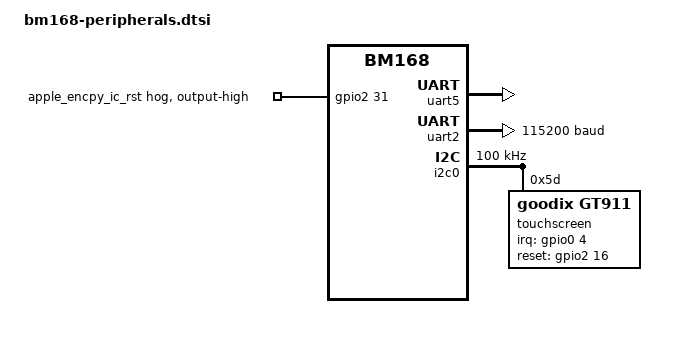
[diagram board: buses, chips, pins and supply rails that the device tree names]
// SPDX-License-Identifier: GPL-2.0
// BM168 projection peripherals for the Plan A RAM spike: Bluetooth UART,
// the MCU link UART,
// I2C bus 0 (Goodix touch, MFi coprocessor), DMA for the Wi-Fi SDIO host
// and the pad multiplexing stock
// applies for them. Values come from the stock kernel and a read-only survey
// of the running stock system (docs/plan-a-compatibility.md, "Stock
// peripheral survey"); the pin groups are the SDK's, which reproduce stock's
// pad values exactly. Only these groups are written; every other pad keeps
// the bootloader's setting.
#include <dt-bindings/gpio/gpio.h>
#include <dt-bindings/interrupt-controller/irq.h>
#include <dt-bindings/pinctrl/ark-pinfunc.h>

/ {
    aliases { hsserial1 = &uart5; gpio2 = &gpio2; serial2 = &uart2; };
};

&{/sregs@e4900000/clocks} {
    // ttyHS1 reference clock: xtal 24 MHz, divider field 0, as stock
    // (register 0x6c bits 17 and 13-16 are 0 on stock; U-Boot leaves
    // divider 15). Same node as the SDK ark1668.dtsi.
    uart5clk: uart5clk {
        #clock-cells = <0>;
        compatible = "arkmiro,ark-clk-sys";
        clocks = <&xtal24mhz>, <&syspll>;
        reg = <0x6c>;
        index-offset = <17>;
        index-mask = <0x1>;
        index-value = <0>;
        div-offset = <13>;
        div-mask = <0xf>;
        div-value = <0>;
        div-mode = <ARK_CLK_DIVMODE_NOZERO>;
        enable-reg = <0x48 0x50>;
        enable-offset = <10 10>;
    };
};

&{/ahb} {
    pinctrl0: pinctrl@e4900000 {
        compatible = "arkmicro,ark1668-pinctrl";
        reg = <0xe4900000 0x1000>;
        // Hogs: MFi coprocessor reset pin 95 and Bluetooth power pin 94 to
        // their GPIO function (stock 0, U-Boot leaves 1); gpio2 line 31 then
        // drives the MFi reset high below, gocsdk drives GPIO 94 itself.
        pinctrl-names = "default";
        pinctrl-0 = <&pinctrl_mfi_rst &pinctrl_bt_power>;

        uart5 {
            pinctrl_uart5: uart5-0 {
                ark,pins = <ARK_PBANK_3 28 ARK_PVAL_1      /* uart5 rx, pin 124 */
                            ARK_PBANK_3 27 ARK_PVAL_1>;    /* uart5 tx, pin 123 */
            };
        };
        uart2 {
            // MCU link (ttyS2): stock pads 66/67 = 1 (0x1e0 bits 8-11);
            // U-Boot leaves 2.
            pinctrl_uart2: uart2-0 {
                ark,pins = <ARK_PBANK_2 2 ARK_PVAL_1       /* uart2 rx, pin 66 */
                            ARK_PBANK_2 3 ARK_PVAL_1>;     /* uart2 tx, pin 67 */
            };
        };
        i2c0 {
            pinctrl_i2c0: i2c0-0 {
                ark,pins = <ARK_PBANK_2 6 ARK_PVAL_2       /* i2c0 scl, pin 70 */
                            ARK_PBANK_2 7 ARK_PVAL_2>;     /* i2c0 sda, pin 71 */
            };
        };
        mfi {
            pinctrl_mfi_rst: mfi-rst {
                ark,pins = <ARK_PBANK_2 31 ARK_PVAL_0>;    /* GPIO 95 */
            };
        };
        bt {
            // Bluetooth module power: gocsdk's bt_power exports GPIO 94
            // (its default when no config sets one) and toggles it. Stock
            // pad 94 is GPIO (0); U-Boot leaves 1, which kept the module
            // unpowered (SPIKE10: verified with a devmem write of the stock
            // value, after which the module loaded its firmware).
            pinctrl_bt_power: bt-power {
                ark,pins = <ARK_PBANK_2 30 ARK_PVAL_0>;    /* GPIO 94 */
            };
        };
    };

    gpio2: gpio@e4600040 {
        compatible = "arkmicro,ark-gpio";
        reg = <0xe4600040 0x20>;
        interrupt-parent = <&vicl>;
        interrupts = <1>;
        gpio-controller;
        #gpio-cells = <2>;
        // No gpio-ranges: pads are set only by the pinctrl groups above.
        mfi-reset {
            // Stock board init: gpio_request(95, "apple_encpy_ic_rst"), high.
            gpio-hog;
            gpios = <31 GPIO_ACTIVE_HIGH>;
            output-high;
            line-name = "apple_encpy_ic_rst";
        };
    };

    uart5: serial@e4800000 {
        // ttyHS1: Bluetooth module (gocsdk), stock 0xe4800000 IRQ 28.
        compatible = "arkmicro,ark-hsuart";
        reg = <0xe4800000 0x4000>;
        interrupt-parent = <&vicl>;
        interrupts = <28>;
        clocks = <&uart5clk>;
        pinctrl-names = "default";
        pinctrl-0 = <&pinctrl_uart5>;
    };

    uart2: serial@e8000000 {
        // ttyS2: GD32 MCU link (stock 0xe8000000 IRQ 44; Launcher opens it
        // at 115200 8N1 raw, no flow control). A plain tty, not the SDK's
        // in-kernel MCU mode.
        compatible = "arkmicro,ark-uart";
        reg = <0xe8000000 0x1000>;
        interrupt-parent = <&vich>;
        interrupts = <12>;
        current-speed = <115200>;
        clocks = <&xtal24mhz>;
        pinctrl-names = "default";
        pinctrl-0 = <&pinctrl_uart2>;
    };

    dwdma0: dma@e0000000 {
        // Ark DMA controller (stock ark_dw_dmac, IRQ 0), SDK ark1668.dtsi
        // values. Stock moves SDIO (Wi-Fi) data through it: about 0.2 DMA
        // and 0.9 SDIO interrupts per packet on stock against 10.5 SDIO
        // interrupts per packet with 4.19's PIO fallback.
        compatible = "arkmicro,ark-dma";
        reg = <0xe0000000 0x1000>;
        interrupt-parent = <&vicl>;
        interrupts = <0>;
        dma-channels = <8>;
        dma-masters = <2>;
        chan_allocation_order = <1>;
        chan_priority = <1>;
        block_size = <0xfff>;
        data-width = <4 4>;
        clocks = <&ahbclk>;
        clock-names = "hclk";
        #dma-cells = <3>;
    };

    i2c0: i2c@e4300000 {
        // Stock bus 0 ("ArkMicro I2C adapter", IRQ 17): Goodix 0x5d and the
        // MFi coprocessor 0x11 (carplay: CARPLAY_I2C_ADDR=0x22, 8-bit form),
        // which userspace reaches through /dev/i2c-0.
        #address-cells = <1>;
        #size-cells = <0>;
        compatible = "snps,designware-i2c";
        reg = <0xe4300000 0x1000>;
        interrupt-parent = <&vicl>;
        interrupts = <17>;
        clocks = <&pclk>;
        clock-frequency = <100000>;
        pinctrl-names = "default";
        pinctrl-0 = <&pinctrl_i2c0>;

        touchscreen@5d {
            // Stock Goodix-TS: interrupt GPIO 4 (IRQ 68, falling edge),
            // reset GPIO 80 (GTP_RST_PORT).
            compatible = "goodix,gt911";
            reg = <0x5d>;
            interrupt-parent = <&gpio0>;
            interrupts = <4 IRQ_TYPE_EDGE_FALLING>;
            irq-gpios = <&gpio0 4 GPIO_ACTIVE_HIGH>;
            reset-gpios = <&gpio2 16 GPIO_ACTIVE_HIGH>;
        };
    };
};

&mmc1 {
    // Wi-Fi SDIO host: DMA request line 9 as the SDK and stock's vendor
    // fields (docs/wifi-board-glue.md); dw_mmc uses its external-DMA path.
    dmas = <&dwdma0 9 1 0>;
    dma-names = "rx-tx";
    // SPIKE13: in-band SDIO card interrupt instead of ksdioirqd polling.
    // Stock polls (no MMC_CAP_SDIO_IRQ); with DMA, 4.19 still lost about a
    // third of received frames with the CPU half idle (SPIKE12).
    cap-sdio-irq;
};

&gpio0 {
    interrupt-controller;
    #interrupt-cells = <2>;
};
